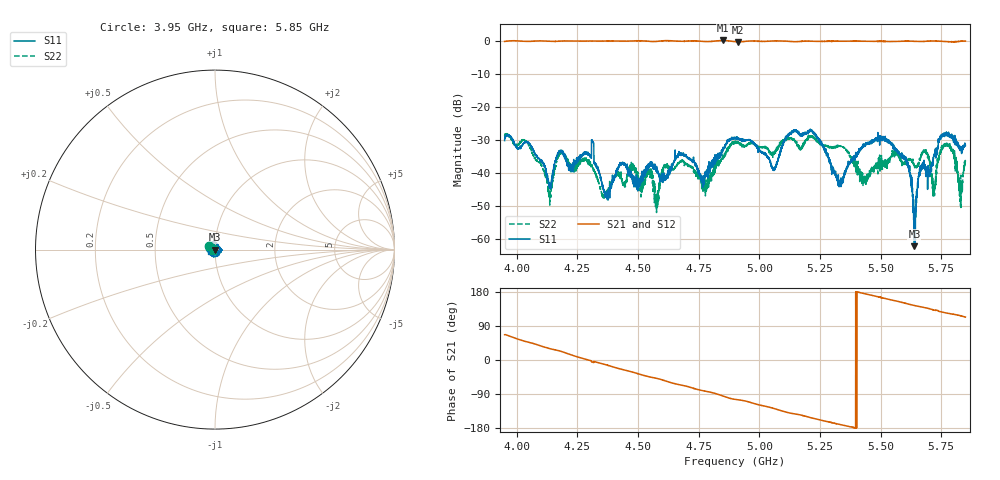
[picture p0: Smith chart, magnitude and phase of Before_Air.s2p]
# GHZ S RI R 50.000000000000
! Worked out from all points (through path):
!   4501 points, 3.95 GHz to 5.85 GHz, reference 50 ohm
!   highest |S21| = 0.13 dB at 4.851 GHz (marker M1); lowest = -0.3 dB at 4.911 GHz (marker M2)
!   group delay of S21, straight-line fit = 453 ps
!   lowest |S11| = -62.3 dB at 5.64 GHz (marker M3), VSWR 1.00, Z = 50 - j0.0723 ohm
!   |S11| at or under -10 dB: start of sweep to end of sweep
!   |S22| runs from -52.0 to -28.0 dB; largest |S21 - S12| = 0.061
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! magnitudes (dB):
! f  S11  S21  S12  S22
! 3.95 GHz  -30.2  -0.2  -0.2  -28.5
! 4.137 GHz  -43.3  -0.1  -0.1  -45.8
! 4.179 GHz  -33.2  -0.1  -0.1  -33.8
! 4.267 GHz  -34.5  -0.1  -0.1  -36.3
! 4.369 GHz  -46.8  0.0  -0.1  -46.5
! 4.476 GHz  -40.5  0.0  0.0  -39.2
! 4.584 GHz  -40.2  -0.1  -0.2  -47.7
! 4.851 GHz  -32.3  0.1  0.1  -35.4
! 4.9 GHz  -29.5  -0.2  -0.2  -30.9
! 4.911 GHz  -29.9  -0.3  -0.2  -31.0
! 5.061 GHz  -38.9  0.0  0.0  -34.1
! 5.217 GHz  -27.4  -0.1  -0.1  -28.8
! 5.333 GHz  -42.6  -0.1  -0.1  -31.9
! 5.432 GHz  -31.6  -0.1  -0.1  -41.9
! 5.534 GHz  -30.0  -0.2  -0.1  -35.9
! 5.611 GHz  -36.8  0.0  -0.1  -36.1
! 5.64 GHz  -62.3  -0.1  -0.2  -37.9
! 5.665 GHz  -39.7  -0.2  -0.2  -35.8
! 5.72 GHz  -34.8  0.0  0.0  -45.8
! 5.747 GHz  -28.7  -0.1  -0.1  -33.0
! 5.829 GHz  -32.5  -0.1  -0.1  -44.6
! 5.85 GHz  -31.7  -0.1  0.0  -36.6
